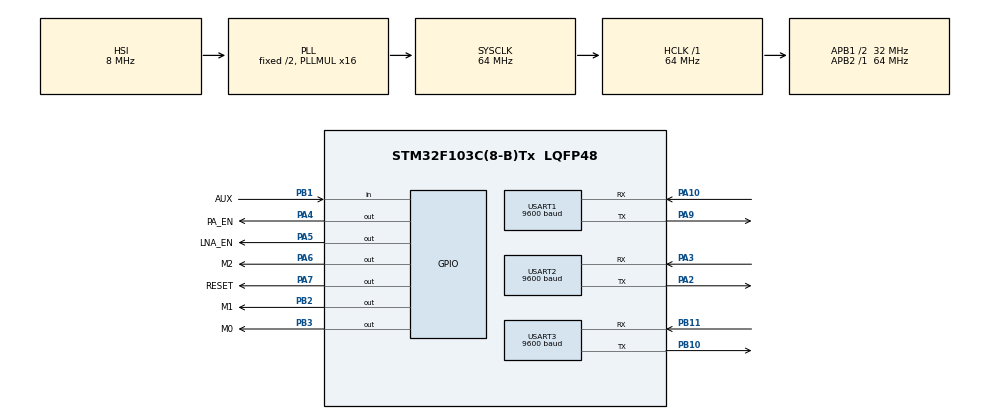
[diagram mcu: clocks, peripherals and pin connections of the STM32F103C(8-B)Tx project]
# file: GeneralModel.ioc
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Dma.Request0=USART1_RX
Dma.Request1=USART1_TX
Dma.Request2=USART2_RX
Dma.Request3=USART2_TX
Dma.Request4=USART3_RX
Dma.Request5=USART3_TX
Dma.USART1_RX.0.Direction=DMA_PERIPH_TO_MEMORY
Dma.USART1_RX.0.Instance=DMA1_Channel5
Dma.USART1_RX.0.MemDataAlignment=DMA_MDATAALIGN_BYTE
Dma.USART1_RX.0.MemInc=DMA_MINC_ENABLE
Dma.USART1_RX.0.Mode=DMA_NORMAL
Dma.USART1_RX.0.PeriphDataAlignment=DMA_PDATAALIGN_BYTE
Dma.USART1_RX.0.PeriphInc=DMA_PINC_DISABLE
Dma.USART1_RX.0.Priority=DMA_PRIORITY_LOW
Dma.USART1_TX.1.Direction=DMA_MEMORY_TO_PERIPH
Dma.USART1_TX.1.Instance=DMA1_Channel4
Dma.USART1_TX.1.MemDataAlignment=DMA_MDATAALIGN_BYTE
Dma.USART1_TX.1.MemInc=DMA_MINC_ENABLE
Dma.USART1_TX.1.Mode=DMA_NORMAL
Dma.USART1_TX.1.PeriphDataAlignment=DMA_PDATAALIGN_BYTE
Dma.USART1_TX.1.PeriphInc=DMA_PINC_DISABLE
Dma.USART1_TX.1.Priority=DMA_PRIORITY_LOW
Dma.USART2_RX.2.Direction=DMA_PERIPH_TO_MEMORY
Dma.USART2_RX.2.Instance=DMA1_Channel6
Dma.USART2_RX.2.MemDataAlignment=DMA_MDATAALIGN_BYTE
Dma.USART2_RX.2.MemInc=DMA_MINC_ENABLE
Dma.USART2_RX.2.Mode=DMA_NORMAL
Dma.USART2_RX.2.PeriphDataAlignment=DMA_PDATAALIGN_BYTE
Dma.USART2_RX.2.PeriphInc=DMA_PINC_DISABLE
Dma.USART2_RX.2.Priority=DMA_PRIORITY_LOW
Dma.USART2_TX.3.Direction=DMA_MEMORY_TO_PERIPH
Dma.USART2_TX.3.Instance=DMA1_Channel7
Dma.USART2_TX.3.MemDataAlignment=DMA_MDATAALIGN_BYTE
Dma.USART2_TX.3.MemInc=DMA_MINC_ENABLE
Dma.USART2_TX.3.Mode=DMA_NORMAL
Dma.USART2_TX.3.PeriphDataAlignment=DMA_PDATAALIGN_BYTE
Dma.USART2_TX.3.PeriphInc=DMA_PINC_DISABLE
Dma.USART2_TX.3.Priority=DMA_PRIORITY_LOW
Dma.USART3_RX.4.Direction=DMA_PERIPH_TO_MEMORY
Dma.USART3_RX.4.Instance=DMA1_Channel3
Dma.USART3_RX.4.MemDataAlignment=DMA_MDATAALIGN_BYTE
Dma.USART3_RX.4.MemInc=DMA_MINC_ENABLE
Dma.USART3_RX.4.Mode=DMA_NORMAL
Dma.USART3_RX.4.PeriphDataAlignment=DMA_PDATAALIGN_BYTE
Dma.USART3_RX.4.PeriphInc=DMA_PINC_DISABLE
Dma.USART3_RX.4.Priority=DMA_PRIORITY_LOW
Dma.USART3_TX.5.Direction=DMA_MEMORY_TO_PERIPH
Dma.USART3_TX.5.Instance=DMA1_Channel2
Dma.USART3_TX.5.MemDataAlignment=DMA_MDATAALIGN_BYTE
Dma.USART3_TX.5.MemInc=DMA_MINC_ENABLE
Dma.USART3_TX.5.Mode=DMA_NORMAL
Dma.USART3_TX.5.PeriphDataAlignment=DMA_PDATAALIGN_BYTE
Dma.USART3_TX.5.PeriphInc=DMA_PINC_DISABLE
Dma.USART3_TX.5.Priority=DMA_PRIORITY_LOW
Mcu.Family=STM32F1
Mcu.Name=STM32F103C(8-B)Tx
Mcu.Package=LQFP48
NVIC.DMA1_Channel2_IRQn=true\:0\:0\:false\:false\:true\:false
NVIC.DMA1_Channel3_IRQn=true\:0\:0\:false\:false\:true\:false
NVIC.DMA1_Channel4_IRQn=true\:0\:0\:false\:false\:true\:false
NVIC.DMA1_Channel5_IRQn=true\:0\:0\:false\:false\:true\:false
NVIC.DMA1_Channel6_IRQn=true\:0\:0\:false\:false\:true\:false
NVIC.DMA1_Channel7_IRQn=true\:0\:0\:false\:false\:true\:false
NVIC.PriorityGroup=NVIC_PRIORITYGROUP_4
NVIC.USART1_IRQn=true\:0\:0\:false\:false\:true\:true
NVIC.USART2_IRQn=true\:0\:0\:false\:false\:true\:true
NVIC.USART3_IRQn=true\:0\:0\:false\:false\:true\:true
PA10.Mode=Asynchronous
PA10.Signal=USART1_RX
PA13.Mode=Serial_Wire
PA13.Signal=SYS_JTMS-SWDIO
PA14.Mode=Serial_Wire
PA14.Signal=SYS_JTCK-SWCLK
PA2.Mode=Asynchronous
PA2.Signal=USART2_TX
PA3.Mode=Asynchronous
PA3.Signal=USART2_RX
PA4.GPIO_Label=PA_EN
PA4.Signal=GPIO_Output
PA5.GPIO_Label=LNA_EN
PA5.Signal=GPIO_Output
PA6.GPIO_Label=M2
PA6.Signal=GPIO_Output
PA7.GPIO_Label=RESET
PA7.PinState=GPIO_PIN_SET
PA7.Signal=GPIO_Output
PA9.Mode=Asynchronous
PA9.Signal=USART1_TX
PB1.GPIO_Label=AUX
PB1.Signal=GPIO_Input
PB10.Mode=Asynchronous
PB10.Signal=USART3_TX
PB11.Mode=Asynchronous
PB11.Signal=USART3_RX
PB2.GPIO_Label=M1
PB2.PinState=GPIO_PIN_SET
PB2.Signal=GPIO_Output
PB3.GPIO_Label=M0
PB3.Signal=GPIO_Output
ProjectManager.HeapSize=0x200
ProjectManager.StackSize=0x400
ProjectManager.TargetToolchain=SW4STM32
RCC.AHBFreq_Value=64000000
RCC.APB1CLKDivider=RCC_HCLK_DIV2
RCC.APB1Freq_Value=32000000
RCC.APB1TimFreq_Value=64000000
RCC.APB2Freq_Value=64000000
RCC.APB2TimFreq_Value=64000000
RCC.HCLKFreq_Value=64000000
RCC.PLLMUL=RCC_PLL_MUL16
RCC.SYSCLKFreq_VALUE=64000000
RCC.SYSCLKSource=RCC_SYSCLKSOURCE_PLLCLK
RCC.USBFreq_Value=64000000
USART1.BaudRate=9600
USART1.VirtualMode=VM_ASYNC
USART2.BaudRate=9600
USART2.VirtualMode=VM_ASYNC
USART3.BaudRate=9600
USART3.VirtualMode=VM_ASYNC
board=GeneralModel

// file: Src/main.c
/**
  ******************************************************************************
  * @file           : main.c
  * @brief          : Main program body
  ******************************************************************************
  ** This notice applies to any and all portions of this file
  * that are not between comment pairs USER CODE BEGIN and
  * USER CODE END. Other portions of this file, whether
  * inserted by the user or by software development tools
  * are owned by their respective copyright owners.
  *
  * COPYRIGHT(c) 2018 STMicroelectronics
  *
  * Redistribution and use in source and binary forms, with or without modification,
  * are permitted provided that the following conditions are met:
  *   1. Redistributions of source code must retain the above copyright notice,
  *      this list of conditions and the following disclaimer.
  *   2. Redistributions in binary form must reproduce the above copyright notice,
  *      this list of conditions and the following disclaimer in the documentation
  *      and/or other materials provided with the distribution.
  *   3. Neither the name of STMicroelectronics nor the names of its contributors
  *      may be used to endorse or promote products derived from this software
  *      without specific prior written permission.
  *
  * THIS SOFTWARE IS PROVIDED BY THE COPYRIGHT HOLDERS AND CONTRIBUTORS "AS IS"
  * AND ANY EXPRESS OR IMPLIED WARRANTIES, INCLUDING, BUT NOT LIMITED TO, THE
  * IMPLIED WARRANTIES OF MERCHANTABILITY AND FITNESS FOR A PARTICULAR PURPOSE ARE
  * DISCLAIMED. IN NO EVENT SHALL THE COPYRIGHT HOLDER OR CONTRIBUTORS BE LIABLE
  * FOR ANY DIRECT, INDIRECT, INCIDENTAL, SPECIAL, EXEMPLARY, OR CONSEQUENTIAL
  * DAMAGES (INCLUDING, BUT NOT LIMITED TO, PROCUREMENT OF SUBSTITUTE GOODS OR
  * SERVICES; LOSS OF USE, DATA, OR PROFITS; OR BUSINESS INTERRUPTION) HOWEVER
  * CAUSED AND ON ANY THEORY OF LIABILITY, WHETHER IN CONTRACT, STRICT LIABILITY,
  * OR TORT (INCLUDING NEGLIGENCE OR OTHERWISE) ARISING IN ANY WAY OUT OF THE USE
  * OF THIS SOFTWARE, EVEN IF ADVISED OF THE POSSIBILITY OF SUCH DAMAGE.
  *
  ******************************************************************************
  */
#include "main.h"
#include "stm32f1xx_hal.h"
#include "dma.h"
#include "usart.h"
#include "gpio.h"

/* USER CODE BEGIN Includes */
#include "dataProcessing.h"
/* USER CODE END Includes */

/* USER CODE BEGIN PV */
unsigned char usart1_rx_buffer[128];
unsigned char usart1_tx_buffer[128];
unsigned int usart1_tx_len = 0;
unsigned char usart1_rx_flag = 0;

unsigned char usart2_rx_buffer[128];
unsigned char usart2_tx_buffer[128];
unsigned int usart2_tx_len = 0;
unsigned char usart2_rx_flag = 0;

unsigned char usart3_rx_buffer[128];
unsigned char usart3_tx_buffer[128];
unsigned int usart3_tx_len = 0;
unsigned char usart3_rx_flag = 0;
/* Private variables ---------------------------------------------------------*/

/* USER CODE END PV */

void SystemClock_Config(void);

/* USER CODE BEGIN PFP */
/* Private function prototypes -----------------------------------------------*/

/* USER CODE END PFP */

int main(void)
{

  /* MCU Configuration----------------------------------------------------------*/

  /* Reset of all peripherals, Initializes the Flash interface and the Systick. */
  HAL_Init();

  /* Configure the system clock */
  SystemClock_Config();

  /* Initialize all configured peripherals */
  MX_GPIO_Init();
  MX_DMA_Init();
  MX_USART1_UART_Init();
  MX_USART2_UART_Init();
  MX_USART3_UART_Init();
  /* USER CODE BEGIN 2 */
  /* USART接收 */
  if (HAL_UART_Receive_DMA(&huart1, (uint8_t *)&usart1_rx_buffer, 128) != HAL_OK)    Error_Handler();
  if (HAL_UART_Receive_DMA(&huart2, (uint8_t *)&usart2_rx_buffer, 128) != HAL_OK)    Error_Handler();
  if (HAL_UART_Receive_DMA(&huart3, (uint8_t *)&usart3_rx_buffer, 128) != HAL_OK)    Error_Handler();

  /* 开启空闲接收中断 */
  __HAL_UART_ENABLE_IT(&huart1, UART_IT_IDLE);
  __HAL_UART_ENABLE_IT(&huart2, UART_IT_IDLE);
  __HAL_UART_ENABLE_IT(&huart3, UART_IT_IDLE);

  /* USER CODE END 2 */

  /* Infinite loop */
  while (1)
  {

  /* USER CODE BEGIN 3 */

	  dataProcessing();

  }
  /* USER CODE END 3 */

}

void SystemClock_Config(void)
{

  RCC_OscInitTypeDef RCC_OscInitStruct;
  RCC_ClkInitTypeDef RCC_ClkInitStruct;

    /**Initializes the CPU, AHB and APB busses clocks
    */
  RCC_OscInitStruct.OscillatorType = RCC_OSCILLATORTYPE_HSI;
  RCC_OscInitStruct.HSIState = RCC_HSI_ON;
  RCC_OscInitStruct.HSICalibrationValue = 16;
  RCC_OscInitStruct.PLL.PLLState = RCC_PLL_ON;
  RCC_OscInitStruct.PLL.PLLSource = RCC_PLLSOURCE_HSI_DIV2;
  RCC_OscInitStruct.PLL.PLLMUL = RCC_PLL_MUL16;
  if (HAL_RCC_OscConfig(&RCC_OscInitStruct) != HAL_OK)
  {
    _Error_Handler(__FILE__, __LINE__);
  }

    /**Initializes the CPU, AHB and APB busses clocks
    */
  RCC_ClkInitStruct.ClockType = RCC_CLOCKTYPE_HCLK|RCC_CLOCKTYPE_SYSCLK
                              |RCC_CLOCKTYPE_PCLK1|RCC_CLOCKTYPE_PCLK2;
  RCC_ClkInitStruct.SYSCLKSource = RCC_SYSCLKSOURCE_PLLCLK;
  RCC_ClkInitStruct.AHBCLKDivider = RCC_SYSCLK_DIV1;
  RCC_ClkInitStruct.APB1CLKDivider = RCC_HCLK_DIV2;
  RCC_ClkInitStruct.APB2CLKDivider = RCC_HCLK_DIV1;

  if (HAL_RCC_ClockConfig(&RCC_ClkInitStruct, FLASH_LATENCY_2) != HAL_OK)
  {
    _Error_Handler(__FILE__, __LINE__);
  }

    /**Configure the Systick interrupt time
    */
  HAL_SYSTICK_Config(HAL_RCC_GetHCLKFreq()/1000);

    /**Configure the Systick
    */
  HAL_SYSTICK_CLKSourceConfig(SYSTICK_CLKSOURCE_HCLK);

  /* SysTick_IRQn interrupt configuration */
  HAL_NVIC_SetPriority(SysTick_IRQn, 0, 0);
}

void _Error_Handler(char *file, int line)
{
  while(1)
  {
  }
}

/************************ (C) COPYRIGHT STMicroelectronics *****END OF FILE****/
